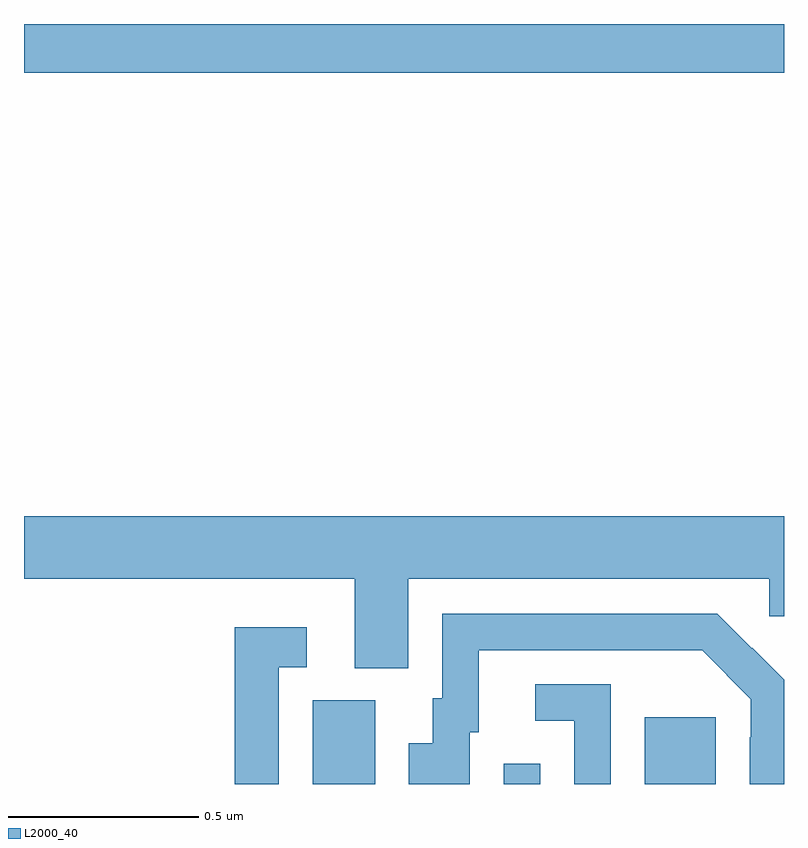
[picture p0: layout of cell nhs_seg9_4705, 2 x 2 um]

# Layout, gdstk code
import gdstk
lib = gdstk.Library(unit=1e-6, precision=1e-09)
def R(c, l, rs):  # rectangles x0, y0, x1, y1
    for r in rs: c.add(gdstk.rectangle(r[:2], r[2:], *l))
def P(c, l, *ps):  # polygons
    for p in ps: c.add(gdstk.Polygon(p, *l))
L2000_40 = (2000, 40)

nhs_seg9_4705 = lib.new_cell('nhs_seg9_4705')
R(nhs_seg9_4705, L2000_40, [(169.76,1242.5,169.924,1242.72), (170.262,1242.5,170.358,1242.553), (170.633,1242.5,170.821,1242.676), (169,1244.372,171,1244.5)])
P(nhs_seg9_4705, L2000_40, [(170.011,1243.04),(170.961,1243.04),(170.961,1242.942),(171,1242.942),(171,1243.204),(169,1243.204),(169,1243.04),(169.871,1243.04),(169.871,1242.805),(170.011,1242.805)],
  [(170.173,1242.636),(170.197,1242.636),(170.197,1242.852),(170.785,1242.852),(170.913,1242.723),(170.913,1242.623),(170.91,1242.623),(170.91,1242.5),(171,1242.5),(171,1242.774),(170.916,1242.858),(170.915,1242.857),(170.824,1242.948),(170.1,1242.948),(170.1,1242.726),(170.075,1242.726),(170.075,1242.607),(170.012,1242.607),(170.012,1242.5),(170.173,1242.5)],
  [(169.671,1242.807),(169.744,1242.807),(169.744,1242.913),(169.555,1242.913),(169.555,1242.5),(169.671,1242.5)],
  [(170.544,1242.762),(170.346,1242.762),(170.346,1242.666),(170.448,1242.666),(170.448,1242.5),(170.544,1242.5)])

lib.write_gds('nhs_seg9_4705.gds')
